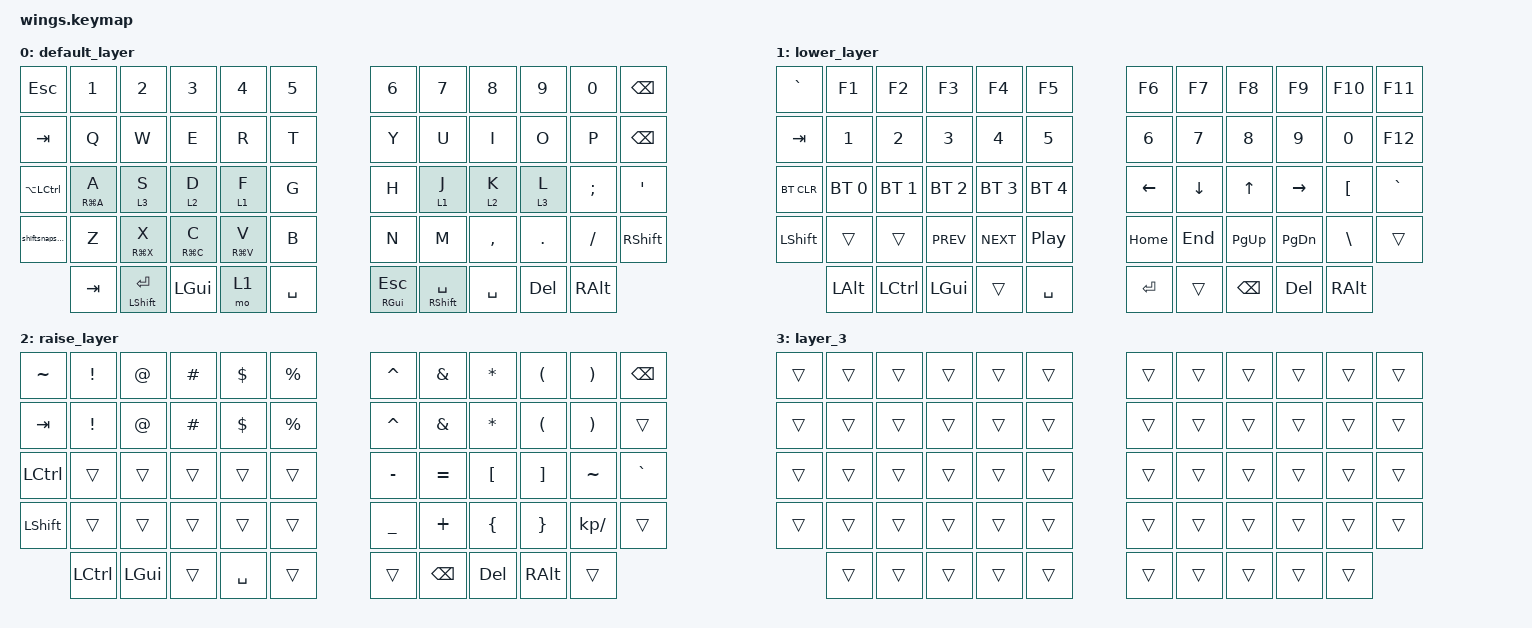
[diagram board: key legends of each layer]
/*
 * Copyright (c) 2020 The ZMK Contributors
 *
 * SPDX-License-Identifier: MIT
 */

#include <dt-bindings/zmk/reset.h>
#include <behaviors.dtsi>
#include <dt-bindings/zmk/bt.h>
#include <dt-bindings/zmk/keys.h>

/ {
    combos {
        compatible = "zmk,combos";

        combo_settings_reset {
            timeout-ms = <50>;
            key-positions = <0 11>; // ESC + BSPC keys
            bindings = <&sys_reset>;
            layers = <1>; // Only on lower layer
        };

        combo_bootloader {
            timeout-ms = <50>;
            key-positions = <10 11>; // 0 + BSPC keys (top right corner)
            bindings = <&bootloader>;
            layers = <1>; // Only on lower layer
        };

        Copy {
            bindings = <&kp RG(C)>;
            key-positions = <>;
        };

        Paste {
            bindings = <&kp RG(V)>;
            key-positions = <>;
        };

        ctrl-a {
            bindings = <&kp RG(A)>;
            key-positions = <>;
        };

        backspace {
            bindings = <&kp BACKSPACE>;
            key-positions = <31 32>;
        };
    };

    behaviors {
        mt_fast: mt_fast {
            compatible = "zmk,behavior-hold-tap";
            label = "MT_FAST";
            bindings = <&kp>, <&kp>;

            #binding-cells = <2>;
            tapping-term-ms = <300>;
            quick-tap-ms = <200>;
            require-prior-idle-ms = <125>;
        };

        homerow_mod: homerow_mod {
            compatible = "zmk,behavior-hold-tap";
            label = "HOMEROW_MOD";
            bindings = <&kp>, <&kp>;

            #binding-cells = <2>;
            tapping-term-ms = <280>;
            quick-tap-ms = <150>;
            require-prior-idle-ms = <100>;
            flavor = "tap-preferred";
        };

        shiftsnapshot: shiftsnapshot {
            compatible = "zmk,behavior-tap-dance";
            label = "SHIFTSNAPSHOT";
            #binding-cells = <0>;
            bindings = <&kp LEFT_SHIFT>, <&kp LS(RG(NUMBER_4))>;
        };
    };

    macros {
        p: p {
            compatible = "zmk,behavior-macro";
            #binding-cells = <0>;
            bindings = <&kp N1 &kp N3 &kp N0 &kp N5 &kp N4 &kp N6 &kp ENTER>;
            label = "P";
        };
    };

    keymap {
        compatible = "zmk,keymap";

        default_layer {
            // -----------------------------------------------------------------------------------------
            // |  ESC |  1  |  2  |  3  |  4  |  5  |   |  6  |  7   |  8  |  9  |  0  | BSPC |
            // |  TAB |  Q  |  W  |  E  |  R  |  T  |   |  Y  |  U   |  I  |  O  |  P  |  \   |
            // | CTRL |  A  |  S  |  D  |  F  |  G  |   |  H  |  J   |  K  |  L  |  ;  |  '   |
            // | SHFT |  Z  |  X  |  C  |  V  |  B  |   |  N  |  M   |  ,  |  .  |  /  | SHFT |
            //        | ALT | CTL | GUI | LWR | SPC |   | ENT | RSE  | BSPC| DEL | ALT |

            bindings = <
&kp ESC         &kp N1                &kp N2                 &kp N3                &kp N4                &kp N5     &kp N6                     &kp N7                      &kp N8     &kp N9   &kp N0    &kp BSPC
&kp TAB         &kp Q                 &kp W                  &kp E                 &kp R                 &kp T      &kp Y                      &kp U                       &kp I      &kp O    &kp P     &kp BACKSPACE
&kp LA(LCTRL)   &homerow_mod RG(A) A  &lt 3 S                &lt 2 D               &lt 1 F               &kp G      &kp H                      &lt 1 J                     &lt 2 K    &lt 3 L  &kp SEMI  &kp SQT
&shiftsnapshot  &kp Z                 &homerow_mod RG(X) X   &homerow_mod RG(C) C  &homerow_mod RG(V) V  &kp B      &kp N                      &kp M                       &kp COMMA  &kp DOT  &kp FSLH  &kp RSHFT
                &kp TAB               &mt_fast LSHIFT ENTER  &kp LGUI              &mo 1                 &kp SPACE  &mt_fast RIGHT_GUI ESCAPE  &mt_fast RIGHT_SHIFT SPACE  &kp SPACE  &kp DEL  &kp RALT
            >;
        };

        lower_layer {
            // -----------------------------------------------------------------------------------------
            // |  `   |  F1 |  F2 |  F3 |  F4 |  F5 |   |  F6 |  F7 |  F8 |  F9 | F10 | F11  |
            // |  TAB |  1  |  2  |  3  |  4  |  5  |   |  6  |  7  |  8  |  9  |  0  | F12  |
            // | BTCLR| BT1 | BT2 | BT3 | BT4 | BT5 |   | LFT | DWN |  UP | RGT | LBKT| GRAVE|
            // | SHFT |     |     | PREV| NEXT| PLAY|   | HOME| END | PGUP| PGDN| BSLH|      |
            //        | ALT | CTL | GUI |     | SPC |   | ENT |     | BSPC| DEL | ALT |

            bindings = <
&kp GRAVE   &kp F1        &kp F2        &kp F3        &kp F4        &kp F5        &kp F6    &kp F7    &kp F8       &kp F9         &kp F10   &kp F11
&kp TAB     &kp N1        &kp N2        &kp N3        &kp N4        &kp N5        &kp N6    &kp N7    &kp N8       &kp N9         &kp N0    &kp F12
&bt BT_CLR  &bt BT_SEL 0  &bt BT_SEL 1  &bt BT_SEL 2  &bt BT_SEL 3  &bt BT_SEL 4  &kp LEFT  &kp DOWN  &kp UP       &kp RIGHT      &kp LBKT  &kp GRAVE
&kp LSHFT   &trans        &trans        &kp C_PREV    &kp C_NEXT    &kp C_PP      &kp HOME  &kp END   &kp PAGE_UP  &kp PAGE_DOWN  &kp BSLH  &trans
            &kp LALT      &kp LCTRL     &kp LGUI      &trans        &kp SPACE     &kp RET   &trans    &kp BSPC     &kp DEL        &kp RALT
            >;
        };

        raise_layer {
            // -----------------------------------------------------------------------------------------
            // |  ~   |  !  |  @  |  #  |  $  |  %  |   |  ^  |  &  |  *  |  (  |  )  | BSPC |
            // |  TAB |     |     |     |     |     |   |  -  |  =  |  [  |  ]  |     |      |
            // | CTRL |     |     |     |     |     |   |  _  |  +  |  {  |  }  |     |      |
            // | SHFT |     |     |     |     |     |   |     |     |     |     | DIV |      |
            //        | ALT | CTL | GUI |     | SPC |   | ENT |     | BSPC| DEL | ALT |

            bindings = <
&kp TILDE  &kp EXCL         &kp AT       &kp HASH  &kp DLLR    &kp PRCNT    &kp CARET       &kp AMPS       &kp ASTRK         &kp LPAR              &kp RPAR               &kp BSPC
&kp TAB    &kp EXCLAMATION  &kp AT_SIGN  &kp HASH  &kp DOLLAR  &kp PERCENT  &kp CARET       &kp AMPERSAND  &kp ASTERISK      &kp LEFT_PARENTHESIS  &kp RIGHT_PARENTHESIS  &trans
&kp LCTRL  &trans           &trans       &trans    &trans      &trans       &kp MINUS       &kp EQUAL      &kp LEFT_BRACKET  &kp RIGHT_BRACKET     &kp TILDE              &kp GRAVE
&kp LSHFT  &trans           &trans       &trans    &trans      &trans       &kp UNDERSCORE  &kp PLUS       &kp LEFT_BRACE    &kp RIGHT_BRACE       &kp KP_DIVIDE          &trans
           &kp LCTRL        &kp LGUI     &trans    &kp SPACE   &trans       &trans          &kp BSPC       &kp DEL           &kp RALT              &trans
            >;
        };

        layer_3 {
            bindings = <
&trans  &trans  &trans  &trans  &trans  &trans  &trans  &trans  &trans  &trans  &trans  &trans
&trans  &trans  &trans  &trans  &trans  &trans  &trans  &trans  &trans  &trans  &trans  &trans
&trans  &trans  &trans  &trans  &trans  &trans  &trans  &trans  &trans  &trans  &trans  &trans
&trans  &trans  &trans  &trans  &trans  &trans  &trans  &trans  &trans  &trans  &trans  &trans
        &trans  &trans  &trans  &trans  &trans  &trans  &trans  &trans  &trans  &trans
            >;
        };
    };

    conditional_layers {
        compatible = "zmk,conditional-layers";

        c1 {
            if-layers = <0 2>;
            then-layer = <3>;
        };
    };
};
